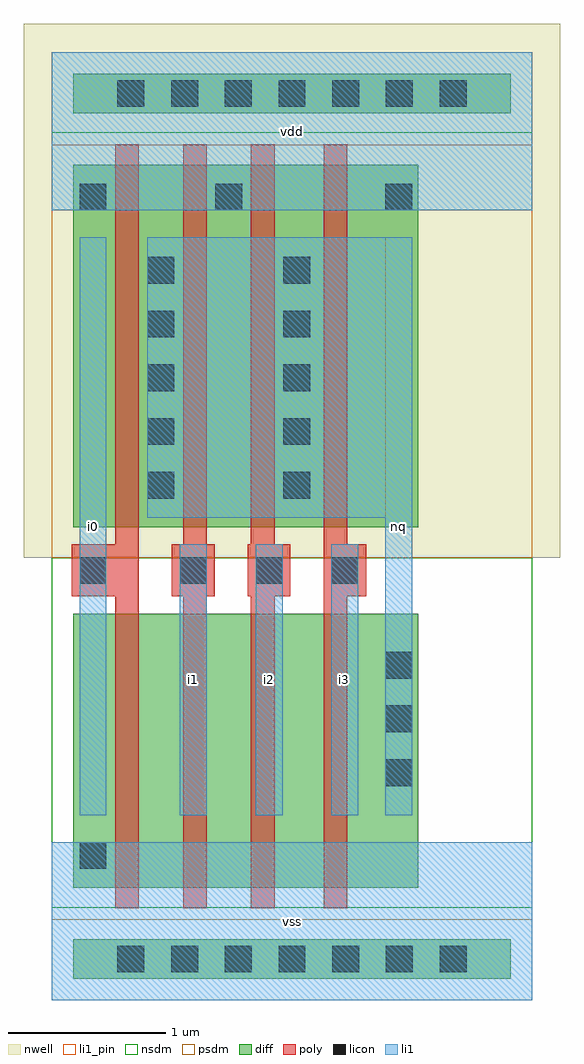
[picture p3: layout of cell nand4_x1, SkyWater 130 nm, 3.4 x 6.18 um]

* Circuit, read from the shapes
.subckt nand4_x1 i0 i1 i2 i3 nq vdd vss
XM1 n1 i0 vss VSUBS sky130_fd_pr__nfet_01v8 w=1.735 l=0.15
XM2 n2 i1 n1 VSUBS sky130_fd_pr__nfet_01v8 w=1.735 l=0.15
XM3 n3 i2 n2 VSUBS sky130_fd_pr__nfet_01v8 w=1.735 l=0.15
XM4 nq i3 n3 VSUBS sky130_fd_pr__nfet_01v8 w=1.735 l=0.15
XM5 nq i0 vdd n4 sky130_fd_pr__pfet_01v8 w=2.295 l=0.15
XM6 vdd i1 nq n4 sky130_fd_pr__pfet_01v8 w=2.295 l=0.15
XM7 nq i2 vdd n4 sky130_fd_pr__pfet_01v8 w=2.295 l=0.15
XM8 vdd i3 nq n4 sky130_fd_pr__pfet_01v8 w=2.295 l=0.15
.ends

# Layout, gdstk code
import gdstk
lib = gdstk.Library(unit=1e-6, precision=1e-09)
def R(c, l, rs):  # rectangles x0, y0, x1, y1
    for r in rs: c.add(gdstk.rectangle(r[:2], r[2:], *l))
def A(c, l, x, y, w, h, nx, ny, dx, dy):  # array of equal rectangles
    R(c, l, [(x+i*dx, y+j*dy, x+i*dx+w, y+j*dy+h) for i in range(nx) for j in range(ny)])
def P(c, l, *ps):  # polygons
    for p in ps: c.add(gdstk.Polygon(p, *l))
nwell = (64, 20)
diff = (65, 20)
poly = (66, 20)
licon = (66, 44)
li1_pin = (67, 16)
li1 = (67, 20)
nsdm = (93, 44)
psdm = (94, 20)

nand4_x1 = lib.new_cell('nand4_x1')
R(nand4_x1, nwell, [(-0.18,2.8,3.22,6.18)])
R(nand4_x1, diff, [(0.135,0.135,2.905,0.385), (0.135,0.71,2.32,2.445), (0.135,2.995,2.32,5.29), (0.135,5.615,2.905,5.865)])
P(nand4_x1, poly, [(0.4,0.58),(0.4,2.555),(0.125,2.555),(0.125,2.885),(0.4,2.885),(0.4,5.42),(0.55,5.42),(0.55,0.58)],
  [(0.83,0.58),(0.83,2.555),(0.76,2.555),(0.76,2.885),(0.83,2.885),(0.83,5.42),(0.98,5.42),(0.98,2.885),(1.03,2.885),(1.03,2.555),(0.98,2.555),(0.98,0.58)],
  [(1.26,0.58),(1.26,2.555),(1.24,2.555),(1.24,2.885),(1.26,2.885),(1.26,5.42),(1.41,5.42),(1.41,2.885),(1.51,2.885),(1.51,2.555),(1.41,2.555),(1.41,0.58)],
  [(1.72,0.58),(1.72,5.42),(1.87,5.42),(1.87,2.885),(1.99,2.885),(1.99,2.555),(1.87,2.555),(1.87,0.58)])
A(nand4_x1, licon, 0.415, 0.175, 0.17, 0.17, 7, 2, 0.34, 5.48)
A(nand4_x1, licon, 2.11, 1.355, 0.17, 0.17, 1, 3, 0, 0.34)
A(nand4_x1, licon, 0.81, 2.635, 0.17, 0.17, 3, 1, 0.48, 0)
A(nand4_x1, licon, 0.605, 3.175, 0.17, 0.17, 1, 5, 0, 0.34)
A(nand4_x1, licon, 1.465, 3.175, 0.17, 0.17, 1, 5, 0, 0.34)
R(nand4_x1, licon, [(0.175,0.83,0.345,1), (0.175,2.635,0.345,2.805), (0.175,5,0.345,5.17), (1.035,5,1.205,5.17), (2.11,5,2.28,5.17)])
A(nand4_x1, li1_pin, 0.81, 1.17, 0.17, 1.715, 3, 1, 0.48, 0)
R(nand4_x1, li1_pin, [(0,0,3.04,1), (0.175,1.17,0.345,4.83), (2.11,1.17,2.28,4.83), (0,5,3.04,6)])
A(nand4_x1, li1, 0.81, 1.17, 0.17, 1.715, 3, 1, 0.48, 0)
R(nand4_x1, li1, [(0,0,3.04,1), (0.175,1.17,0.345,4.83), (0,5,3.04,6)])
P(nand4_x1, li1, [(2.11,1.17),(2.11,3.055),(0.605,3.055),(0.605,4.83),(2.28,4.83),(2.28,1.17)])
R(nand4_x1, nsdm, [(0,0.585,3.04,2.8), (0,5.49,3.04,6)])
R(nand4_x1, psdm, [(0,0,3.04,0.51), (0,2.8,3.04,5.415)])
nand4_x1.add(gdstk.Label('vss', (1.52,0.5), layer=67, texttype=16))
nand4_x1.add(gdstk.Label('vdd', (1.52,5.5), layer=67, texttype=16))
nand4_x1.add(gdstk.Label('i0', (0.26,3), layer=67, texttype=16))
nand4_x1.add(gdstk.Label('nq', (2.195,3), layer=67, texttype=16))
nand4_x1.add(gdstk.Label('i1', (0.895,2.027), layer=67, texttype=16))
nand4_x1.add(gdstk.Label('i2', (1.375,2.027), layer=67, texttype=16))
nand4_x1.add(gdstk.Label('i3', (1.855,2.027), layer=67, texttype=16))

lib.write_gds('nand4_x1.gds')
